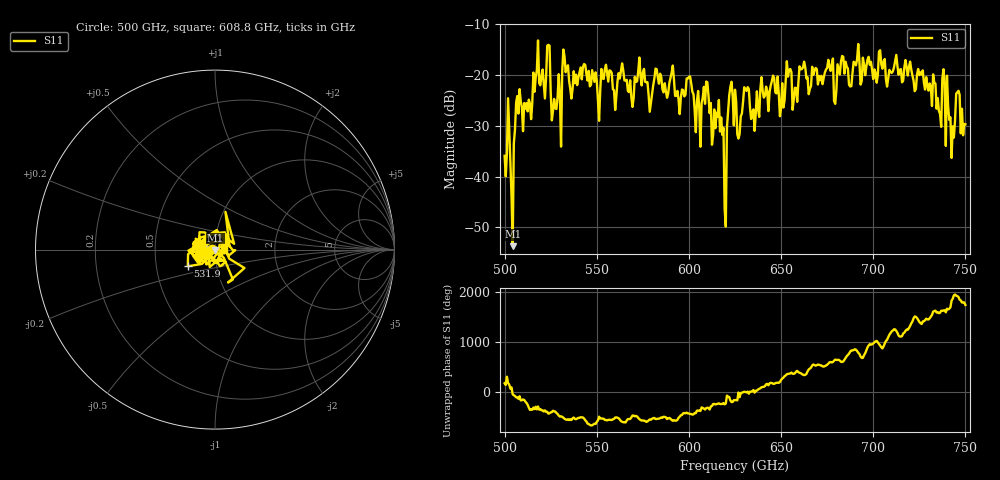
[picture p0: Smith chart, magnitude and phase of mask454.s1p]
!Created with skrf (http://scikit-rf.org).
# GHz S MA R 50.0
!freq magS11 angS11
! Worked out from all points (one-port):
!   401 points, 500 GHz to 750 GHz, reference 50 ohm
!   lowest |S11| = -53.7 dB at 504.4 GHz (marker M1), VSWR 1.00, Z = 50.2 - j0.136 ohm
!   |S11| at or under -10 dB: start of sweep to end of sweep
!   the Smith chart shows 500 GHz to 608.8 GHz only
!   S11 on the Smith chart (normalised r, x): 500 GHz: 0.97, +0.00; 531.9 GHz: 0.73, -0.14; 608.8 GHz: 1.11, +0.03
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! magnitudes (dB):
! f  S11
! 500 GHz  -35.9
! 501.9 GHz  -24.6
! 504.4 GHz  -53.7
! 507.5 GHz  -27.6
! 513.8 GHz  -25.6
! 516.9 GHz  -20.5
! 523.8 GHz  -14.1
! 526.9 GHz  -24.7
! 531.2 GHz  -19.4
! 531.9 GHz  -15.0
! 562.5 GHz  -20.7
! 579.4 GHz  -25.6
! 590.6 GHz  -19.6
! 593.8 GHz  -23.2
! 600 GHz  -20.4
! 605 GHz  -23.2
! 608.8 GHz  -25.7
! 617.5 GHz  -28.4
! 619.4 GHz  -46.3
! 622.5 GHz  -22.3
! 625 GHz  -22.9
! 656.2 GHz  -26.9
! 687.5 GHz  -22.3
! 718.8 GHz  -20.1
! 738.8 GHz  -22.0
! 742.5 GHz  -36.3
! 745.6 GHz  -23.4
! 750 GHz  -29.7
